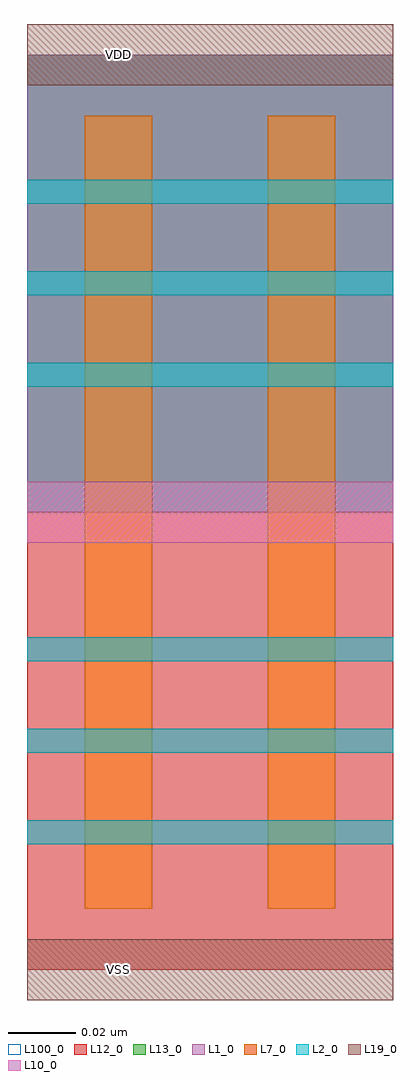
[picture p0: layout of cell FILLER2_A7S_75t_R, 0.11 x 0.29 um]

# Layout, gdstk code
import gdstk
lib = gdstk.Library(unit=1e-6, precision=2.5e-10)
def R(c, l, rs):  # rectangles x0, y0, x1, y1
    for r in rs: c.add(gdstk.rectangle(r[:2], r[2:], *l))
def A(c, l, x, y, w, h, nx, ny, dx, dy):  # array of equal rectangles
    R(c, l, [(x+i*dx, y+j*dy, x+i*dx+w, y+j*dy+h) for i in range(nx) for j in range(ny)])
L1_0 = (1, 0)
L2_0 = (2, 0)
L7_0 = (7, 0)
L10_0 = (10, 0)
L12_0 = (12, 0)
L13_0 = (13, 0)
L19_0 = (19, 0)
L100_0 = (100, 0)

filler2_a7s_75t_r = lib.new_cell('FILLER2_A7S_75t_R')
R(filler2_a7s_75t_r, L1_0, [(0,0.135,0.108,0.27)])
A(filler2_a7s_75t_r, L2_0, 0, 0.037, 0.108, 0.007, 1, 3, 0, 0.027)
A(filler2_a7s_75t_r, L2_0, 0, 0.172, 0.108, 0.007, 1, 3, 0, 0.027)
R(filler2_a7s_75t_r, L7_0, [(0.017,0.018,0.037,0.252), (0.071,0.018,0.091,0.252)])
R(filler2_a7s_75t_r, L10_0, [(0,0.126,0.054,0.144), (0.054,0.126,0.108,0.144)])
R(filler2_a7s_75t_r, L12_0, [(0,0,0.108,0.135)])
R(filler2_a7s_75t_r, L13_0, [(0,0.135,0.108,0.27)])
R(filler2_a7s_75t_r, L19_0, [(0,-0.009,0.108,0.009), (0,0.261,0.108,0.279)])
R(filler2_a7s_75t_r, L100_0, [(0,0,0.108,0.27)])
filler2_a7s_75t_r.add(gdstk.Label('VSS', (0.027,0), layer=19, texttype=251))
filler2_a7s_75t_r.add(gdstk.Label('VDD', (0.027,0.27), layer=19, texttype=251))

lib.write_gds('FILLER2_A7S_75t_R.gds')
